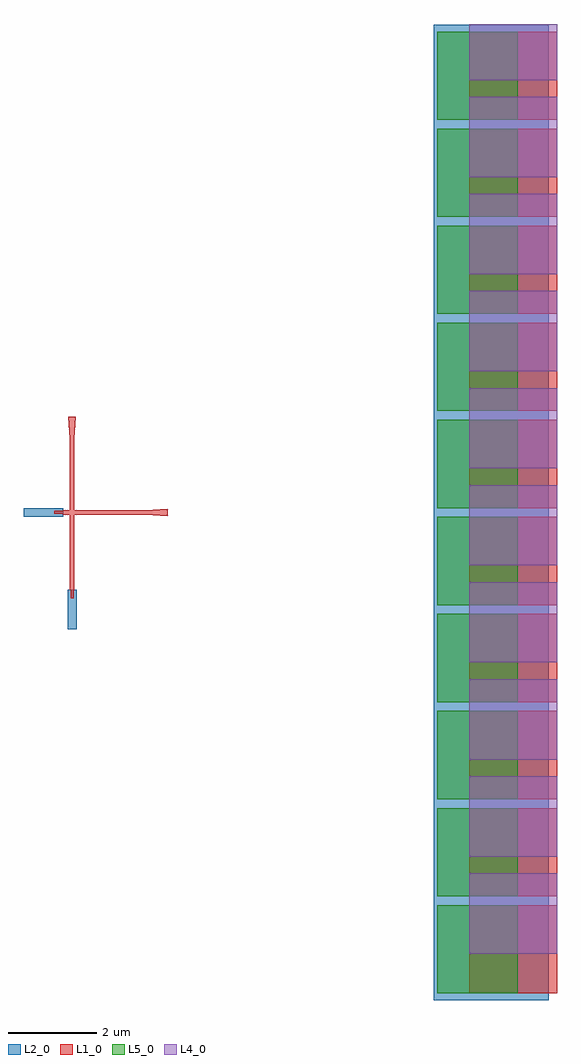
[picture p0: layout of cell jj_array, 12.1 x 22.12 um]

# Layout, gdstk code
import gdstk
lib = gdstk.Library(unit=1e-6, precision=1e-09)
def R(c, l, rs):  # rectangles x0, y0, x1, y1
    for r in rs: c.add(gdstk.rectangle(r[:2], r[2:], *l))
def A(c, l, x, y, w, h, nx, ny, dx, dy):  # array of equal rectangles
    R(c, l, [(x+i*dx, y+j*dy, x+i*dx+w, y+j*dy+h) for i in range(nx) for j in range(ny)])
def P(c, l, *ps):  # polygons
    for p in ps: c.add(gdstk.Polygon(p, *l))
L1_0 = (1, 0)
L2_0 = (2, 0)
L4_0 = (4, 0)
L5_0 = (5, 0)

dolanbridgejunctionarray = lib.new_cell('DolanBridgeJunctionArray[12]')
A(dolanbridgejunctionarray, L1_0, -1, -10.9, 2, 2, 1, 10, 0, 2.2)
R(dolanbridgejunctionarray, L2_0, [(-1.8,-11.05,0.8,11.05)])

jj_20_ = lib.new_cell('JJ[20]')
R(jj_20_, L1_0, [(-0.033,-1.95,0.033,-1.85), (-0.033,-1.85,0.033,-1.75), (-0.05,-1.75,0.05,1.67), (-0.2,-0.05,1.67,0.05), (-0.4,-0.033,-0.3,0.033), (-0.3,-0.033,-0.2,0.033)])
P(jj_20_, L1_0, [(0.085,2.17),(-0.085,2.17),(-0.05,1.67),(0.05,1.67)],
  [(2.17,-0.085),(2.17,0.085),(1.67,0.05),(1.67,-0.05)])

jj_undercut_21_ = lib.new_cell('JJ_UNDERCUT[21]')
R(jj_undercut_21_, L2_0, [(-0.1,-2.65,0.1,-1.75), (-1.1,-0.1,-0.2,0.1)])

manhattanjunction_12_ = lib.new_cell('ManhattanJunction[12]')
manhattanjunction_12_.add(gdstk.Reference(jj_20_, (0,0)))
manhattanjunction_12_.add(gdstk.Reference(jj_undercut_21_, (0,0)))

evap_0 = lib.new_cell('evap_0')
A(evap_0, L4_0, -1, -10, 2, 1.82, 1, 9, 0, 2.2)
R(evap_0, L4_0, [(-1,9.8,1,11.07)])

evap_1 = lib.new_cell('evap_1')
A(evap_1, L5_0, -1.72, -10.9, 1.82, 2, 1, 10, 0, 2.2)

jj_array = lib.new_cell('jj_array')
jj_array.add(gdstk.Reference(dolanbridgejunctionarray, (0,0)))
jj_array.add(gdstk.Reference(manhattanjunction_12_, (-10,0)))
jj_array.add(gdstk.Reference(evap_0, (0,0)))
jj_array.add(gdstk.Reference(evap_1, (0,0)))

lib.write_gds('jj_array.gds')
